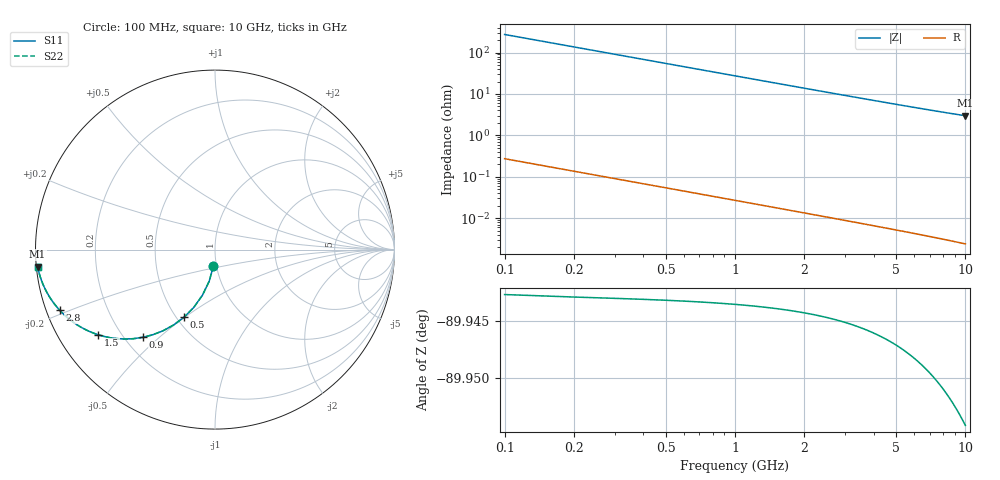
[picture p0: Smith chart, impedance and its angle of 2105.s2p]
# Hz S RI R 50.00
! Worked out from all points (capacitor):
!   100 points, 100 MHz to 10 GHz, reference 50 ohm
!   read as one part in shunt: C = 5.82 pF near 100 MHz
!   lowest |Z| = 2.99 ohm at 10 GHz (marker M1)
!   S11 on the Smith chart (normalised r, x): 100 MHz: 0.97, -0.18; 500 MHz: 0.55, -0.50; 900 MHz: 0.27, -0.44; 1.5 GHz: 0.12, -0.32; 2.8 GHz: 0.04, -0.19; 10 GHz: 0.00, -0.05
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1e8  -0.00836 -0.0905  0.9916 -0.0907  0.9916 -0.0907  -0.00836 -0.0905
2e8  -0.0325 -0.1766  0.9675 -0.177  0.9675 -0.177  -0.0325 -0.1766
3e8  -0.0701 -0.2545  0.9299 -0.2552  0.9299 -0.2552  -0.0701 -0.2545
4e8  -0.1181 -0.3218  0.8819 -0.3226  0.8819 -0.3226  -0.1181 -0.3218
5e8  -0.1729 -0.3771  0.8271 -0.3782  0.8271 -0.3782  -0.1729 -0.3771
6e8  -0.2312 -0.4204  0.7688 -0.4218  0.7688 -0.4218  -0.2312 -0.4204
7e8  -0.2903 -0.4526  0.7097 -0.4542  0.7097 -0.4542  -0.2903 -0.4526
8e8  -0.348 -0.475  0.6519 -0.4767  0.6519 -0.4767  -0.348 -0.475
9e8  -0.4031 -0.489  0.5969 -0.491  0.5969 -0.491  -0.4031 -0.489
1e9  -0.4545 -0.4963  0.5455 -0.4985  0.5455 -0.4985  -0.4545 -0.4963
1.2e9  -0.5451 -0.4961  0.4549 -0.4988  0.4549 -0.4988  -0.5451 -0.4961
1.5e9  -0.6515 -0.4743  0.3485 -0.4777  0.3485 -0.4777  -0.6515 -0.4743
1.8e9  -0.7288 -0.4421  0.2711 -0.446  0.2711 -0.446  -0.7288 -0.4421
2e9  -0.7683 -0.4192  0.2317 -0.4236  0.2317 -0.4236  -0.7683 -0.4192
2.3e9  -0.8141 -0.386  0.1859 -0.3911  0.1859 -0.3911  -0.8141 -0.386
2.8e9  -0.8663 -0.3367  0.1337 -0.3429  0.1337 -0.3429  -0.8663 -0.3367
3.4e9  -0.9051 -0.2887  0.0948 -0.2963  0.0948 -0.2963  -0.9051 -0.2887
4.2e9  -0.9357 -0.24  0.0642 -0.2495  0.0642 -0.2495  -0.9357 -0.24
5.1e9  -0.9555 -0.1998  0.0444 -0.2114  0.0444 -0.2114  -0.9555 -0.1998
6.7e9  -0.9738 -0.1511  0.026 -0.1666  0.026 -0.1666  -0.9738 -0.1511
8.4e9  -0.9833 -0.1172  0.0164 -0.1369  0.0164 -0.1369  -0.9833 -0.1172
1e10  -0.9883 -0.0944  0.0114 -0.1182  0.0114 -0.1182  -0.9883 -0.0944
